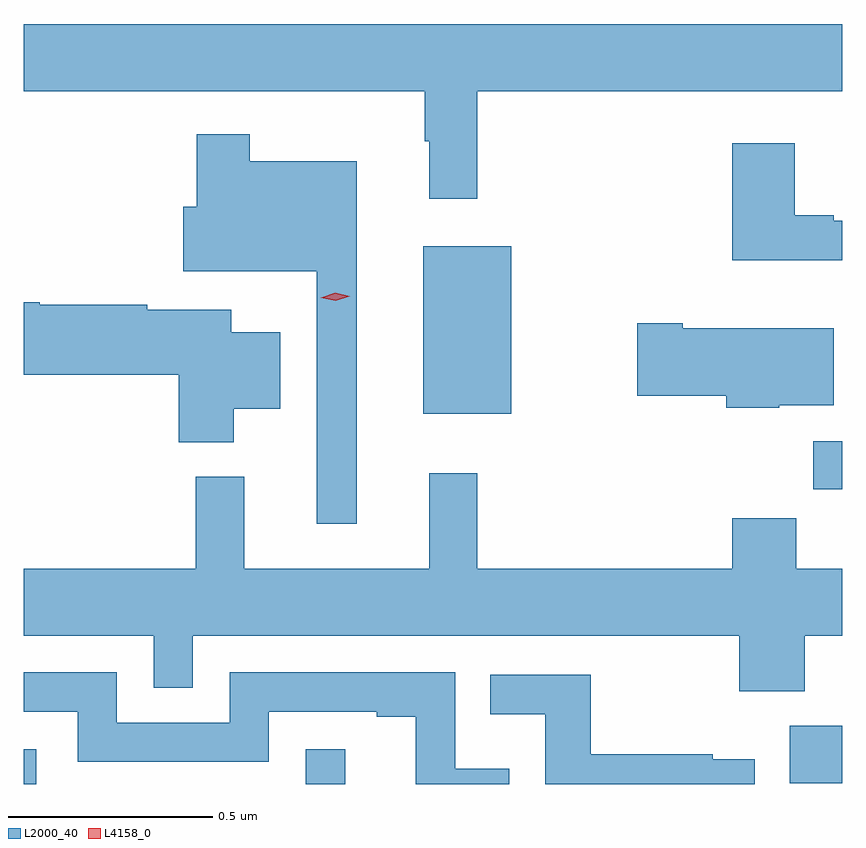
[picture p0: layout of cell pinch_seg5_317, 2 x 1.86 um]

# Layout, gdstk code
import gdstk
lib = gdstk.Library(unit=1e-6, precision=1e-09)
def R(c, l, rs):  # rectangles x0, y0, x1, y1
    for r in rs: c.add(gdstk.rectangle(r[:2], r[2:], *l))
def P(c, l, *ps):  # polygons
    for p in ps: c.add(gdstk.Polygon(p, *l))
L2000_40 = (2000, 40)
L4158_0 = (4158, 0)

pinch_seg5_317 = lib.new_cell('pinch_seg5_317')
R(pinch_seg5_317, L2000_40, [(897.121,891.03,897.151,891.115), (897.81,891.03,897.907,891.115), (898.993,891.032,899.121,891.172), (899.05,891.75,899.121,891.868), (898.097,891.935,898.312,892.345)])
P(pinch_seg5_317, L2000_40, [(898.229,892.724),(899.121,892.724),(899.121,892.888),(897.121,892.888),(897.121,892.724),(898.101,892.724),(898.101,892.601),(898.112,892.601),(898.112,892.461),(898.229,892.461)],
  [(897.934,892.552),(897.673,892.552),(897.673,892.618),(897.544,892.618),(897.544,892.441),(897.51,892.441),(897.51,892.283),(897.837,892.283),(897.837,891.666),(897.934,891.666)],
  [(899.121,892.407),(899.101,892.407),(899.101,892.42),(899.005,892.42),(899.005,892.597),(898.853,892.597),(898.853,892.31),(899.121,892.31)],
  [(897.634,891.947),(897.748,891.947),(897.748,892.135),(897.628,892.135),(897.628,892.189),(897.422,892.189),(897.422,892.202),(897.16,892.202),(897.16,892.208),(897.121,892.208),(897.121,892.03),(897.5,892.03),(897.5,891.866),(897.634,891.866)],
  [(898.968,891.956),(899.101,891.956),(899.101,892.144),(898.732,892.144),(898.732,892.157),(898.62,892.157),(898.62,891.979),(898.838,891.979),(898.838,891.95),(898.968,891.95)],
  [(899.03,891.392),(899.121,891.392),(899.121,891.556),(899.009,891.556),(899.009,891.68),(898.853,891.68),(898.853,891.556),(898.229,891.556),(898.229,891.79),(898.112,891.79),(898.112,891.556),(897.659,891.556),(897.659,891.781),(897.541,891.781),(897.541,891.556),(897.121,891.556),(897.121,891.392),(897.438,891.392),(897.438,891.265),(897.534,891.265),(897.534,891.392),(898.87,891.392),(898.87,891.257),(899.03,891.257)],
  [(898.308,891.067),(898.176,891.067),(898.176,891.303),(897.624,891.303),(897.624,891.18),(897.348,891.18),(897.348,891.303),(897.121,891.303),(897.121,891.207),(897.252,891.207),(897.252,891.084),(897.72,891.084),(897.72,891.207),(897.983,891.207),(897.983,891.195),(898.079,891.195),(898.079,891.03),(898.308,891.03)],
  [(898.908,891.091),(898.805,891.091),(898.805,891.103),(898.507,891.103),(898.507,891.297),(898.261,891.297),(898.261,891.2),(898.396,891.2),(898.396,891.03),(898.908,891.03)])
P(pinch_seg5_317, L4158_0, [(897.883,892.211),(897.847,892.219),(897.847,892.219),(897.847,892.219),(897.882,892.231),(897.918,892.222),(897.918,892.222),(897.918,892.222)])

lib.write_gds('pinch_seg5_317.gds')
